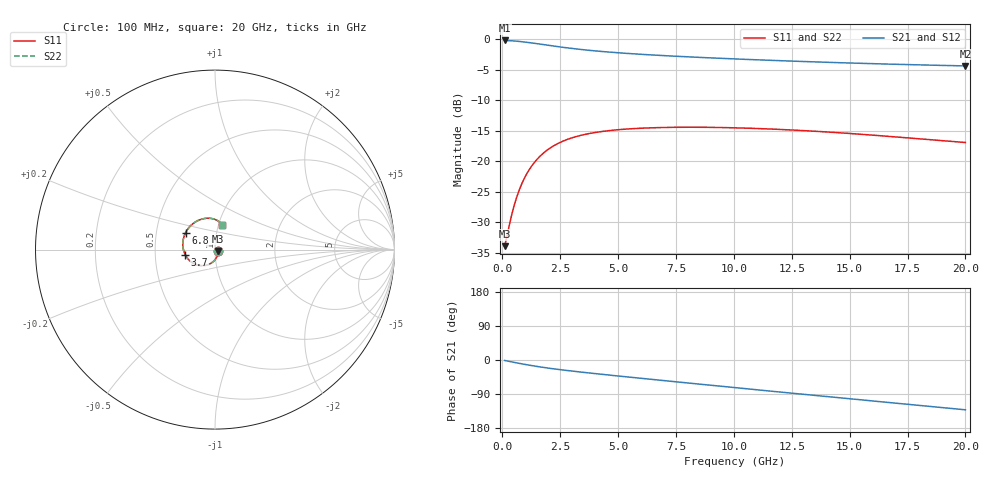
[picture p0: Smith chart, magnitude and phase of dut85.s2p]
! Created with skrf 1.9.0 (http://scikit-rf.org).
# GHz S RI R 50.0
!freq ReS11 ImS11 ReS21 ImS21 ReS12 ImS12 ReS22 ImS22
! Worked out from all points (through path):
!   200 points, 100 MHz to 20 GHz, reference 50 ohm
!   highest |S21| = -0.17 dB at 100 MHz (marker M1); lowest = -4.3 dB at 20 GHz (marker M2)
!   group delay of S21, straight-line fit = 17.2 ps
!   lowest |S11| = -34.0 dB at 100 MHz (marker M3), VSWR 1.04, Z = 51.9 - j0.823 ohm
!   |S11| at or under -10 dB: start of sweep to end of sweep
!   |S22| runs from -34.0 to -14.4 dB; largest |S21 - S12| = 2.4e-15
!   S11 on the Smith chart (normalised r, x): 100 MHz: 1.04, -0.02; 3.7 GHz: 0.71, -0.04; 6.8 GHz: 0.71, +0.14; 20 GHz: 1.04, +0.29
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0.1  0.0184 -0.00793  0.9806 -0.0222  0.9806 -0.0222  0.0184 -0.00793
0.4  0.0135 -0.0332  0.9708 -0.0852  0.9708 -0.0852  0.0135 -0.0332
0.5  0.00998 -0.0413  0.9658 -0.1052  0.9658 -0.1052  0.00998 -0.0413
0.7  0.000603 -0.0559  0.9534 -0.1435  0.9534 -0.1435  0.000603 -0.0559
0.8  -0.00506 -0.0623  0.9462 -0.1618  0.9462 -0.1618  -0.00506 -0.0623
1  -0.0179 -0.0732  0.9299 -0.1963  0.9299 -0.1963  -0.0179 -0.0732
1.3  -0.0393 -0.0842  0.9023 -0.2426  0.9023 -0.2426  -0.0393 -0.0842
1.7  -0.069 -0.0897  0.8624 -0.2949  0.8624 -0.2949  -0.069 -0.0897
2.2  -0.103 -0.0844  0.812 -0.3473  0.812 -0.3473  -0.103 -0.0844
2.8  -0.1354 -0.0664  0.7547 -0.3968  0.7547 -0.3968  -0.1354 -0.0664
3.5  -0.1605 -0.0377  0.6936 -0.4432  0.6936 -0.4432  -0.1605 -0.0377
3.7  -0.1655 -0.0289  0.6771 -0.455  0.6771 -0.455  -0.1655 -0.0289
5.1  -0.1792 0.0321  0.5683 -0.5262  0.5683 -0.5262  -0.1792 0.0321
6.8  -0.1643 0.0932  0.4423 -0.5925  0.4423 -0.5925  -0.1643 0.0932
8.4  -0.1348 0.134  0.324 -0.6359  0.324 -0.6359  -0.1348 0.134
10.1  -0.0972 0.1608  0.1991 -0.6616  0.1991 -0.6616  -0.0972 0.1608
11.7  -0.0619 0.1726  0.0841 -0.6669  0.0841 -0.6669  -0.0619 0.1726
13.4  -0.0283 0.1744  -0.0328 -0.6539  -0.0328 -0.6539  -0.0283 0.1744
15  -0.00239 0.169  -0.1361 -0.6257  -0.1361 -0.6257  -0.00239 0.169
16.7  0.0182 0.1588  -0.2368 -0.5805  -0.2368 -0.5805  0.0182 0.1588
18.3  0.0311 0.1479  -0.322 -0.5253  -0.322 -0.5253  0.0311 0.1479
20  0.039 0.137  -0.4009 -0.4546  -0.4009 -0.4546  0.039 0.137
